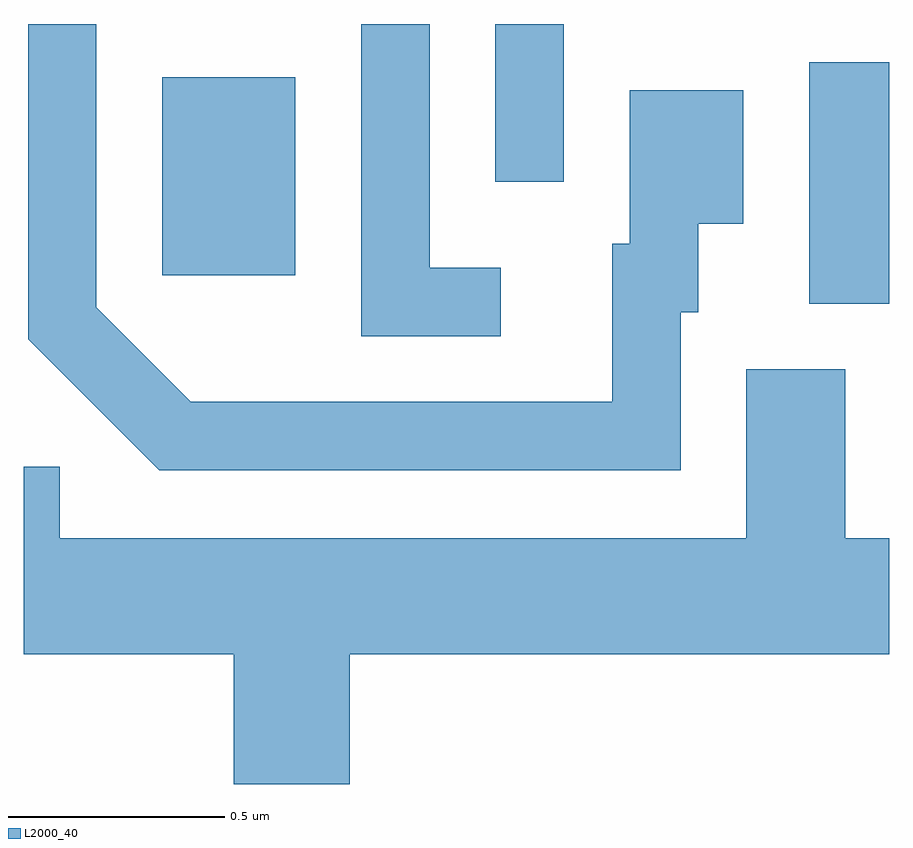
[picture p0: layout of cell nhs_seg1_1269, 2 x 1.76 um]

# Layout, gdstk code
import gdstk
lib = gdstk.Library(unit=1e-6, precision=1e-09)
def R(c, l, rs):  # rectangles x0, y0, x1, y1
    for r in rs: c.add(gdstk.rectangle(r[:2], r[2:], *l))
def P(c, l, *ps):  # polygons
    for p in ps: c.add(gdstk.Polygon(p, *l))
L2000_40 = (2000, 40)

nhs_seg1_1269 = lib.new_cell('nhs_seg1_1269')
R(nhs_seg1_1269, L2000_40, [(196.426,887.066,196.611,887.624), (194.931,887.131,195.239,887.589), (195.701,887.348,195.859,887.712)])
P(nhs_seg1_1269, L2000_40, [(195.713,887.149),(195.549,887.149),(195.549,887.712),(195.391,887.712),(195.391,886.991),(195.713,886.991)],
  [(196.129,887.046),(196.169,887.046),(196.169,887.251),(196.274,887.251),(196.274,887.559),(196.011,887.559),(196.011,887.204),(195.971,887.204),(195.971,886.839),(194.997,886.839),(194.779,887.057),(194.779,887.712),(194.621,887.712),(194.621,886.984),(194.924,886.681),(196.129,886.681)],
  [(195.364,886.256),(196.611,886.256),(196.611,886.524),(196.509,886.524),(196.509,886.914),(196.281,886.914),(196.281,886.524),(194.694,886.524),(194.694,886.689),(194.611,886.689),(194.611,886.256),(195.096,886.256),(195.096,885.956),(195.364,885.956)])

lib.write_gds('nhs_seg1_1269.gds')
